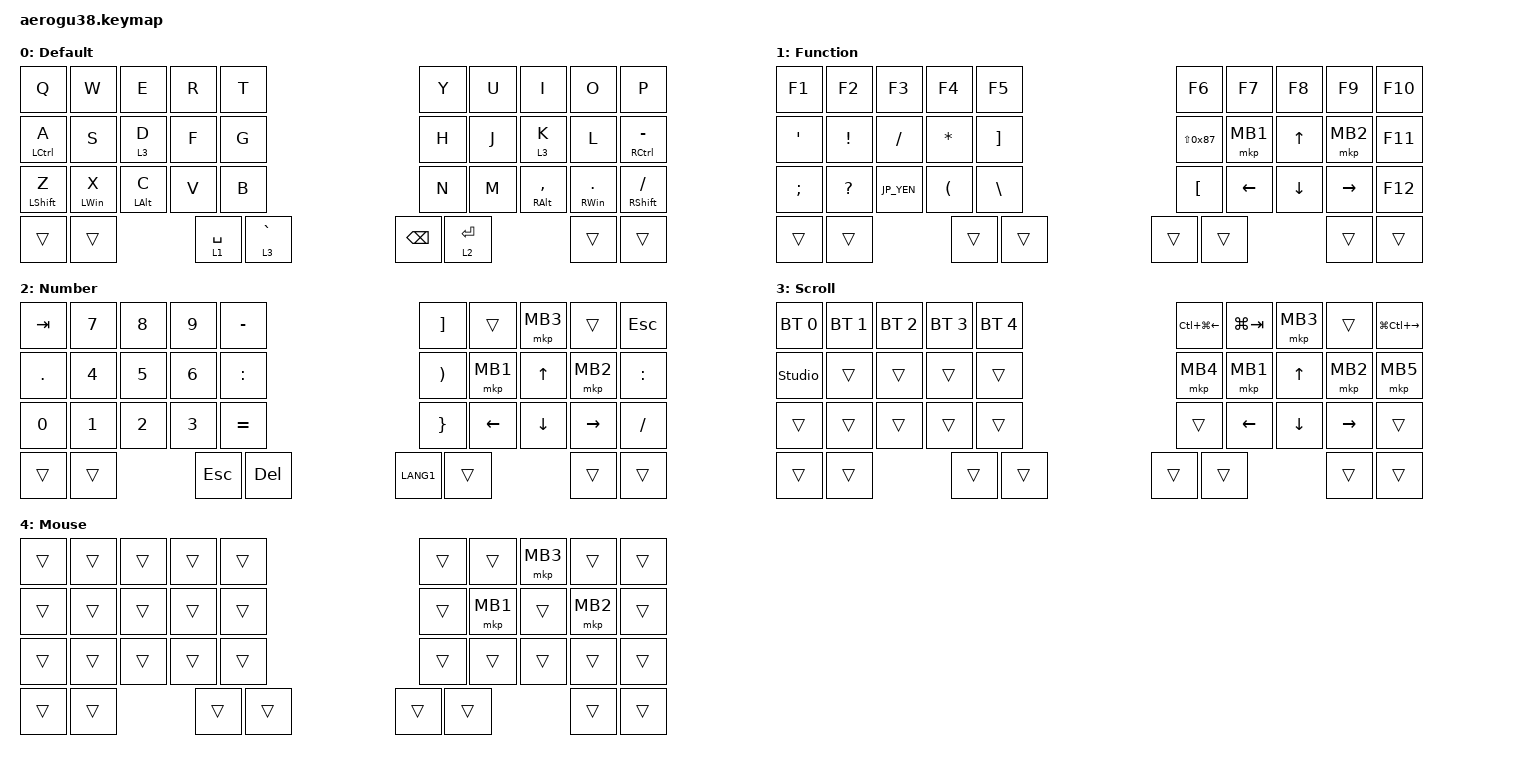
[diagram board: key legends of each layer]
#define ZMK_POINTING_DEFAULT_SCRL_VAL 200

#include <dt-bindings/zmk/mouse.h>
#include <behaviors.dtsi>
#include <dt-bindings/zmk/bt.h>
#include <dt-bindings/zmk/keys.h>
#include <dt-bindings/zmk/pointing.h>

// OS設定を日本語キーボードのまま使用するための変換定義

#define JP_DQUOTE       AT                // "
#define JP_AMPERSAND    CARET             // &
#define JP_QUOTE        AMPERSAND         // '
#define JP_EQUAL        UNDER             // =
#define JP_CARET        EQUAL             // ^
#define JP_YEN          0x89              // ¥
#define JP_PLUS         COLON             // +
#define JP_TILDE        PLUS              // ~
#define JP_PIPE         LS(0x89)          // |
#define JP_AT           LEFT_BRACKET      // @
#define JP_COLON        SINGLE_QUOTE      // :
#define JP_ASTERISK     DOUBLE_QUOTES     // *
#define JP_BACKQUOTE    LEFT_BRACE        // `
#define JP_UNDERSCORE   LS(0x87)          // _
#define JP_LBRACKET     RIGHT_BRACKET     // [
#define JP_RBRACKET     BACKSLASH         // ]
#define JP_LPAREN       ASTERISK          // (
#define JP_RPAREN       LEFT_PARENTHESIS  // )
#define JP_LBRACE       RIGHT_BRACE       // {
#define JP_RBRACE       PIPE              // }
#define JP_KANA         LANGUAGE_1        // かな
#define JP_EISU         LANGUAGE_2        // 英数
#define JP_HANZEN       GRAVE             // 半角/全角

&mt {
    tapping-term-ms = <300>;
    flavor = "balanced";
};

&lt { quick-tap-ms = <300>; };

/ {
    combos {
        compatible = "zmk,combos";

        tab {
            bindings = <&kp TAB>;
            key-positions = <11 12>;
            layers = <0>;
        };

        stab {
            bindings = <&kp LS(TAB)>;
            key-positions = <12 13>;
        };

        btreset {
            bindings = <&bt BT_CLR>;
            key-positions = <0 4>;
            layers = <3>;
        };

        boot {
            bindings = <&bootloader>;
            key-positions = <1 2 3>;
            layers = <3>;
        };

        lwin {
            bindings = <&kp LEFT_WIN>;
            key-positions = <20 21>;
        };

        lalt {
            bindings = <&kp LEFT_ALT>;
            key-positions = <20 22>;
        };

        rwin {
            bindings = <&kp RIGHT_WIN>;
            key-positions = <29 28>;
        };

        ralt {
            bindings = <&kp RIGHT_ALT>;
            key-positions = <29 27>;
        };
    };

    keymap {
        compatible = "zmk,keymap";

        default_layer {
            display-name = "Default";
            bindings = <
&kp Q             &kp W  &kp E    &kp R  &kp T                                      &kp Y        &kp U  &kp I      &kp O    &kp P
&mt LCTRL A             &kp S  &lt 3 D  &kp F  &kp G                                      &kp H        &kp J  &lt 3 K    &kp L    &mt RCTRL MINUS
&mt LEFT_SHIFT Z  &mt LEFT_WIN X  &mt LEFT_ALT C    &kp V  &kp B                                      &kp N        &kp M  &mt RIGHT_ALT COMMA  &mt RIGHT_WIN DOT  &mt RIGHT_SHIFT SLASH
&trans  &trans            &lt 1 SPACE  &lt 3 GRAVE    &kp BACKSPACE  &lt 2 ENTER            &trans  &trans
            >;
        };

        function_layer {
            display-name = "Function";
            bindings = <
&kp F1         &kp F2           &kp F3      &kp F4         &kp F5                               &kp F6             &kp F7    &kp F8    &kp F9     &kp F10
&kp JP_COLON   &kp EXCLAMATION  &kp SLASH   &kp JP_LPAREN  &kp JP_LBRACKET                      &kp JP_UNDERSCORE  &mkp MB1  &kp UP    &mkp MB2   &kp F11
&kp SEMICOLON  &kp QUESTION     &kp JP_YEN  &kp JP_RPAREN  &kp JP_RBRACKET                      &kp JP_AT          &kp LEFT  &kp DOWN  &kp RIGHT  &kp F12
&trans  &trans                                              &trans           &trans    &trans     &trans                              &trans  &trans
            >;
        };

        number_layer {
            display-name = "Number";
            bindings = <
&kp TAB               &kp N7        &kp N8        &kp N9        &kp MINUS                          &kp RIGHT_BRACKET  &trans    &mkp MB3  &trans     &kp ESC
&kp DOT       &kp NUMBER_4  &kp N5        &kp NUMBER_6  &kp JP_PLUS                        &kp RPAR           &mkp MB1  &kp UP    &mkp MB2   &kp COLON
&kp NUMBER_0  &kp NUMBER_1  &kp NUMBER_2  &kp NUMBER_3  &kp EQUAL                          &kp RIGHT_BRACE    &kp LEFT  &kp DOWN  &kp RIGHT  &kp SLASH
&trans  &trans                                                   &kp ESC    &kp DEL    &kp LANG1  &trans                              &trans  &trans
            >;
        };

        scroll_layer {
            display-name = "Scroll";
            bindings = <
&bt BT_SEL 0  &bt BT_SEL 1  &bt BT_SEL 2  &bt BT_SEL 3  &bt BT_SEL 4                    &kp LC(LG(LEFT))  &kp LG(TAB)  &mkp MB3  &trans     &kp LG(LC(RIGHT))
&studio_unlock        &trans        &trans        &trans        &trans                          &mkp MB4          &mkp MB1     &kp UP    &mkp MB2   &mkp MB5
&trans        &trans        &trans        &trans        &trans                          &trans            &kp LEFT     &kp DOWN  &kp RIGHT  &trans
&trans  &trans                                          &trans        &trans    &trans  &trans                                  &trans  &trans
            >;
        };

        mouse_layer {
            display-name = "Mouse";
            bindings = <
&trans  &trans  &trans  &trans  &trans                    &trans  &trans    &mkp MB3  &trans    &trans
&trans  &trans  &trans  &trans  &trans                    &trans  &mkp MB1  &trans    &mkp MB2  &trans
&trans  &trans  &trans  &trans  &trans                    &trans  &trans    &trans    &trans    &trans
&trans  &trans                  &trans  &trans    &trans  &trans                              &trans  &trans
            >;
        };
    };
};
